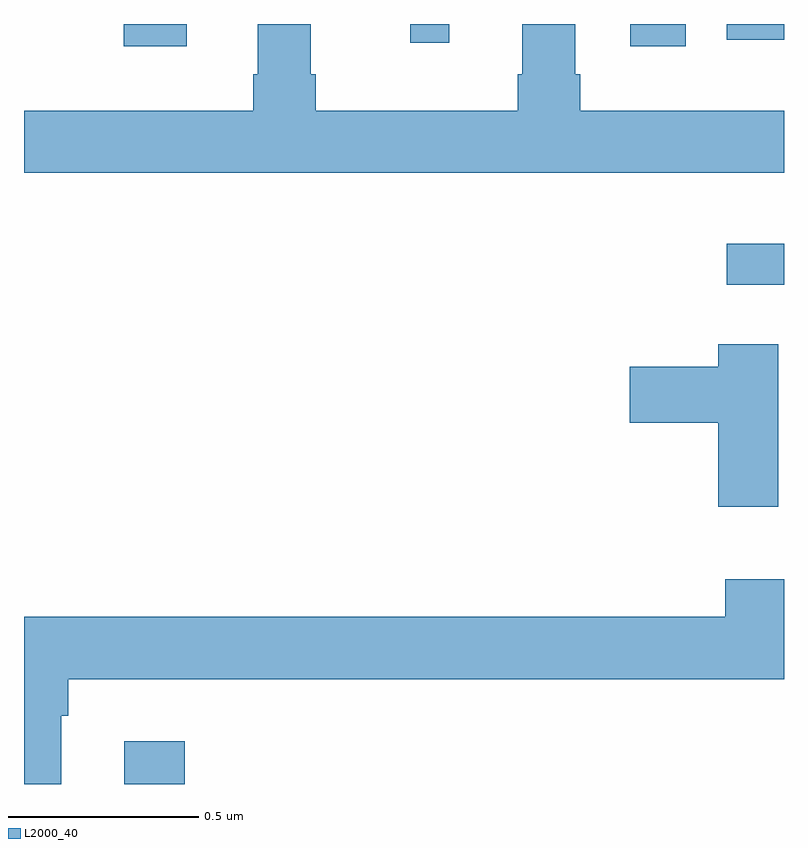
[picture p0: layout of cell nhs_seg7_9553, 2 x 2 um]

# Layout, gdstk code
import gdstk
lib = gdstk.Library(unit=1e-6, precision=1e-09)
def R(c, l, rs):  # rectangles x0, y0, x1, y1
    for r in rs: c.add(gdstk.rectangle(r[:2], r[2:], *l))
def P(c, l, *ps):  # polygons
    for p in ps: c.add(gdstk.Polygon(p, *l))
L2000_40 = (2000, 40)

nhs_seg7_9553 = lib.new_cell('nhs_seg7_9553')
R(nhs_seg7_9553, L2000_40, [(239.264,1007,239.423,1007.113), (240.849,1008.314,241,1008.422), (239.263,1008.942,239.428,1009), (240.596,1008.942,240.742,1009), (240.016,1008.951,240.119,1009), (240.849,1008.959,241,1009)])
P(nhs_seg7_9553, L2000_40, [(241,1008.772),(240.464,1008.772),(240.464,1008.868),(240.451,1008.868),(240.451,1009),(240.311,1009),(240.311,1008.868),(240.299,1008.868),(240.299,1008.772),(239.768,1008.772),(239.768,1008.868),(239.755,1008.868),(239.755,1009),(239.615,1009),(239.615,1008.868),(239.603,1008.868),(239.603,1008.772),(239,1008.772),(239,1008.608),(241,1008.608)],
  [(240.985,1008.157),(240.827,1008.157),(240.827,1008.098),(240.594,1008.098),(240.594,1007.951),(240.827,1007.951),(240.827,1007.73),(240.985,1007.73)],
  [(239.098,1007.18),(239.117,1007.18),(239.117,1007.276),(241,1007.276),(241,1007.539),(240.845,1007.539),(240.845,1007.44),(239,1007.44),(239,1007.18),(239.001,1007.18),(239.001,1007),(239.098,1007)])

lib.write_gds('nhs_seg7_9553.gds')
